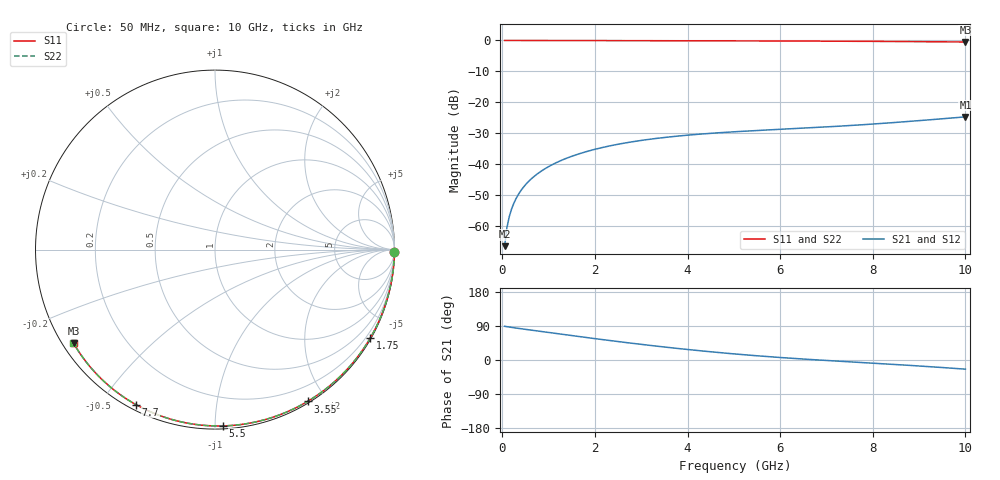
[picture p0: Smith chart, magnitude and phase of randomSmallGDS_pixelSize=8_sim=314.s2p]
! freq	dB(S11)	phase(S11)	dB(S12)	phase(S12)
!  dB(S21)	phase(S21)	dB(S22)	phase(S22)
!S-par simulation data
#  GHz  S  DB  R 50
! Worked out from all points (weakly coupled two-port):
!   200 points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, 50 MHz to 10 GHz, reference 50 ohm
!   highest |S21| = -24.69 dB at 10 GHz (marker M1); lowest = -66.5 dB at 50 MHz (marker M2)
!   lowest |S11| = -0.5 dB at 10 GHz (marker M3), VSWR 35.33, Z = 1.54 - j15.1 ohm
!   |S11| at or under -10 dB: nowhere
!   |S22| runs from -0.5 to 0.0 dB; largest |S21 - S12| = 0
!   S11 on the Smith chart (normalised r, x): 50 MHz: open; 1.75 GHz: 0.03, -3.77; 3.55 GHz: 0.02, -1.78; 5.5 GHz: 0.02, -1.05; 7.7 GHz: 0.02, -0.61; 10 GHz: 0.03, -0.30
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0.05  -0.00 -0.9  -66.47 88.9  -66.47 88.9  -0.00 -0.9
0.1  -0.00 -1.7  -60.46 87.9  -60.46 87.9  -0.00 -1.7
0.15  -0.00 -2.6  -56.96 86.9  -56.96 86.9  -0.00 -2.6
0.2  -0.00 -3.5  -54.49 86.0  -54.49 86.0  -0.00 -3.5
0.25  -0.00 -4.3  -52.57 85.1  -52.57 85.1  -0.00 -4.3
0.35  -0.00 -6.0  -49.69 83.4  -49.69 83.4  -0.00 -6.0
0.5  -0.01 -8.6  -46.64 80.9  -46.64 80.9  -0.01 -8.6
0.7  -0.01 -12.0  -43.77 77.6  -43.77 77.6  -0.01 -12.0
1  -0.02 -17.1  -40.76 72.6  -40.76 72.6  -0.02 -17.1
1.35  -0.03 -23.0  -38.28 66.9  -38.28 66.9  -0.03 -23.1
1.75  -0.04 -29.7  -36.20 60.4  -36.20 60.4  -0.04 -29.7
2.5  -0.06 -42.0  -33.53 48.6  -33.53 48.6  -0.06 -42.0
3.4  -0.08 -56.3  -31.52 35.6  -31.52 35.6  -0.08 -56.4
3.55  -0.08 -58.6  -31.26 33.6  -31.26 33.6  -0.08 -58.7
4.3  -0.10 -70.0  -30.23 24.0  -30.23 24.0  -0.10 -70.1
5.05  -0.13 -81.0  -29.47 15.6  -29.47 15.6  -0.13 -81.1
5.5  -0.14 -87.4  -29.10 11.1  -29.10 11.1  -0.15 -87.5
6.7  -0.20 -103.9  -28.18 1.0  -28.18 1.0  -0.20 -104.0
7.7  -0.27 -117.1  -27.31 -6.2  -27.31 -6.2  -0.27 -117.2
8.35  -0.32 -125.4  -26.64 -10.8  -26.64 -10.8  -0.32 -125.6
9.2  -0.40 -136.2  -25.67 -17.4  -25.67 -17.4  -0.40 -136.4
10  -0.49 -146.4  -24.69 -24.2  -24.69 -24.2  -0.49 -146.6
